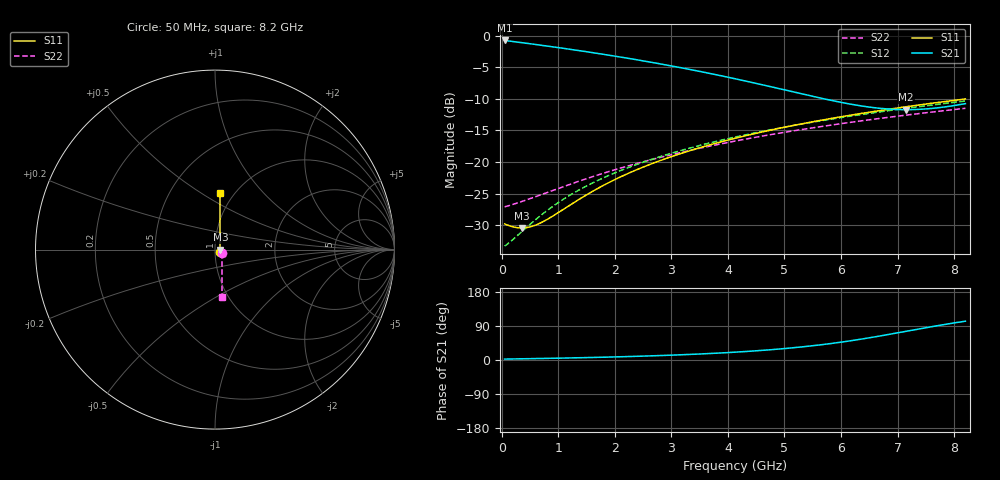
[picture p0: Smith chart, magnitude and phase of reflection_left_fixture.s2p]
# Hz S RI R 50
! Hz S11_real S11_imag S21_real S21_imag S12_real S12_imag S22_real S22_imag
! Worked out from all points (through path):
!   164 points, 50 MHz to 8.2 GHz, reference 50 ohm
!   highest |S21| = -0.75 dB at 50 MHz (marker M1); lowest = -11.7 dB at 7.15 GHz (marker M2)
!   lowest |S11| = -30.5 dB at 350 MHz (marker M3), VSWR 1.06, Z = 53.1 + j0 ohm
!   |S11| at or under -10 dB: start of sweep to end of sweep
!   |S22| runs from -27.1 to -11.5 dB; largest |S21 - S12| = 0.9
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5e7  0.03 -0.012  0.916 0.0385  0.0185 0.011  0.04 -0.0185
2e8  0.03 -0.006  0.898 0.043  0.023 0.008  0.04 -0.023
3.5e8  0.03 0  0.88 0.0475  0.0275 0.005  0.04 -0.0275
5e8  0.03 0.006  0.862 0.052  0.032 0.002  0.04 -0.032
7e8  0.03 0.014  0.838 0.058  0.038 -0.002  0.04 -0.038
1.05e9  0.03 0.028  0.796 0.0685  0.0485 -0.009  0.04 -0.0485
1.45e9  0.03 0.044  0.748 0.0805  0.0605 -0.017  0.04 -0.0605
1.75e9  0.03 0.056  0.712 0.0895  0.0695 -0.023  0.04 -0.0695
2.1e9  0.03 0.07  0.67 0.1  0.08 -0.03  0.04 -0.08
2.45e9  0.03 0.084  0.628 0.1105  0.0905 -0.037  0.04 -0.0905
2.8e9  0.03 0.098  0.586 0.121  0.101 -0.044  0.04 -0.101
3.45e9  0.03 0.124  0.508 0.1405  0.1205 -0.057  0.04 -0.1205
4.15e9  0.03 0.152  0.424 0.1615  0.1415 -0.071  0.04 -0.1415
4.8e9  0.03 0.178  0.346 0.181  0.161 -0.084  0.04 -0.161
5.5e9  0.03 0.206  0.262 0.202  0.182 -0.098  0.04 -0.182
6.25e9  0.03 0.236  0.172 0.2245  0.2045 -0.113  0.04 -0.2045
6.55e9  0.03 0.248  0.136 0.2335  0.2135 -0.119  0.04 -0.2135
6.85e9  0.03 0.26  0.1 0.2425  0.2225 -0.125  0.04 -0.2225
7.15e9  0.03 0.272  0.064 0.2515  0.2315 -0.131  0.04 -0.2315
7.4e9  0.03 0.282  0.034 0.259  0.239 -0.136  0.04 -0.239
7.65e9  0.03 0.292  0.004 0.2665  0.2465 -0.141  0.04 -0.2465
8.2e9  0.03 0.314  -0.062 0.283  0.263 -0.152  0.04 -0.263
